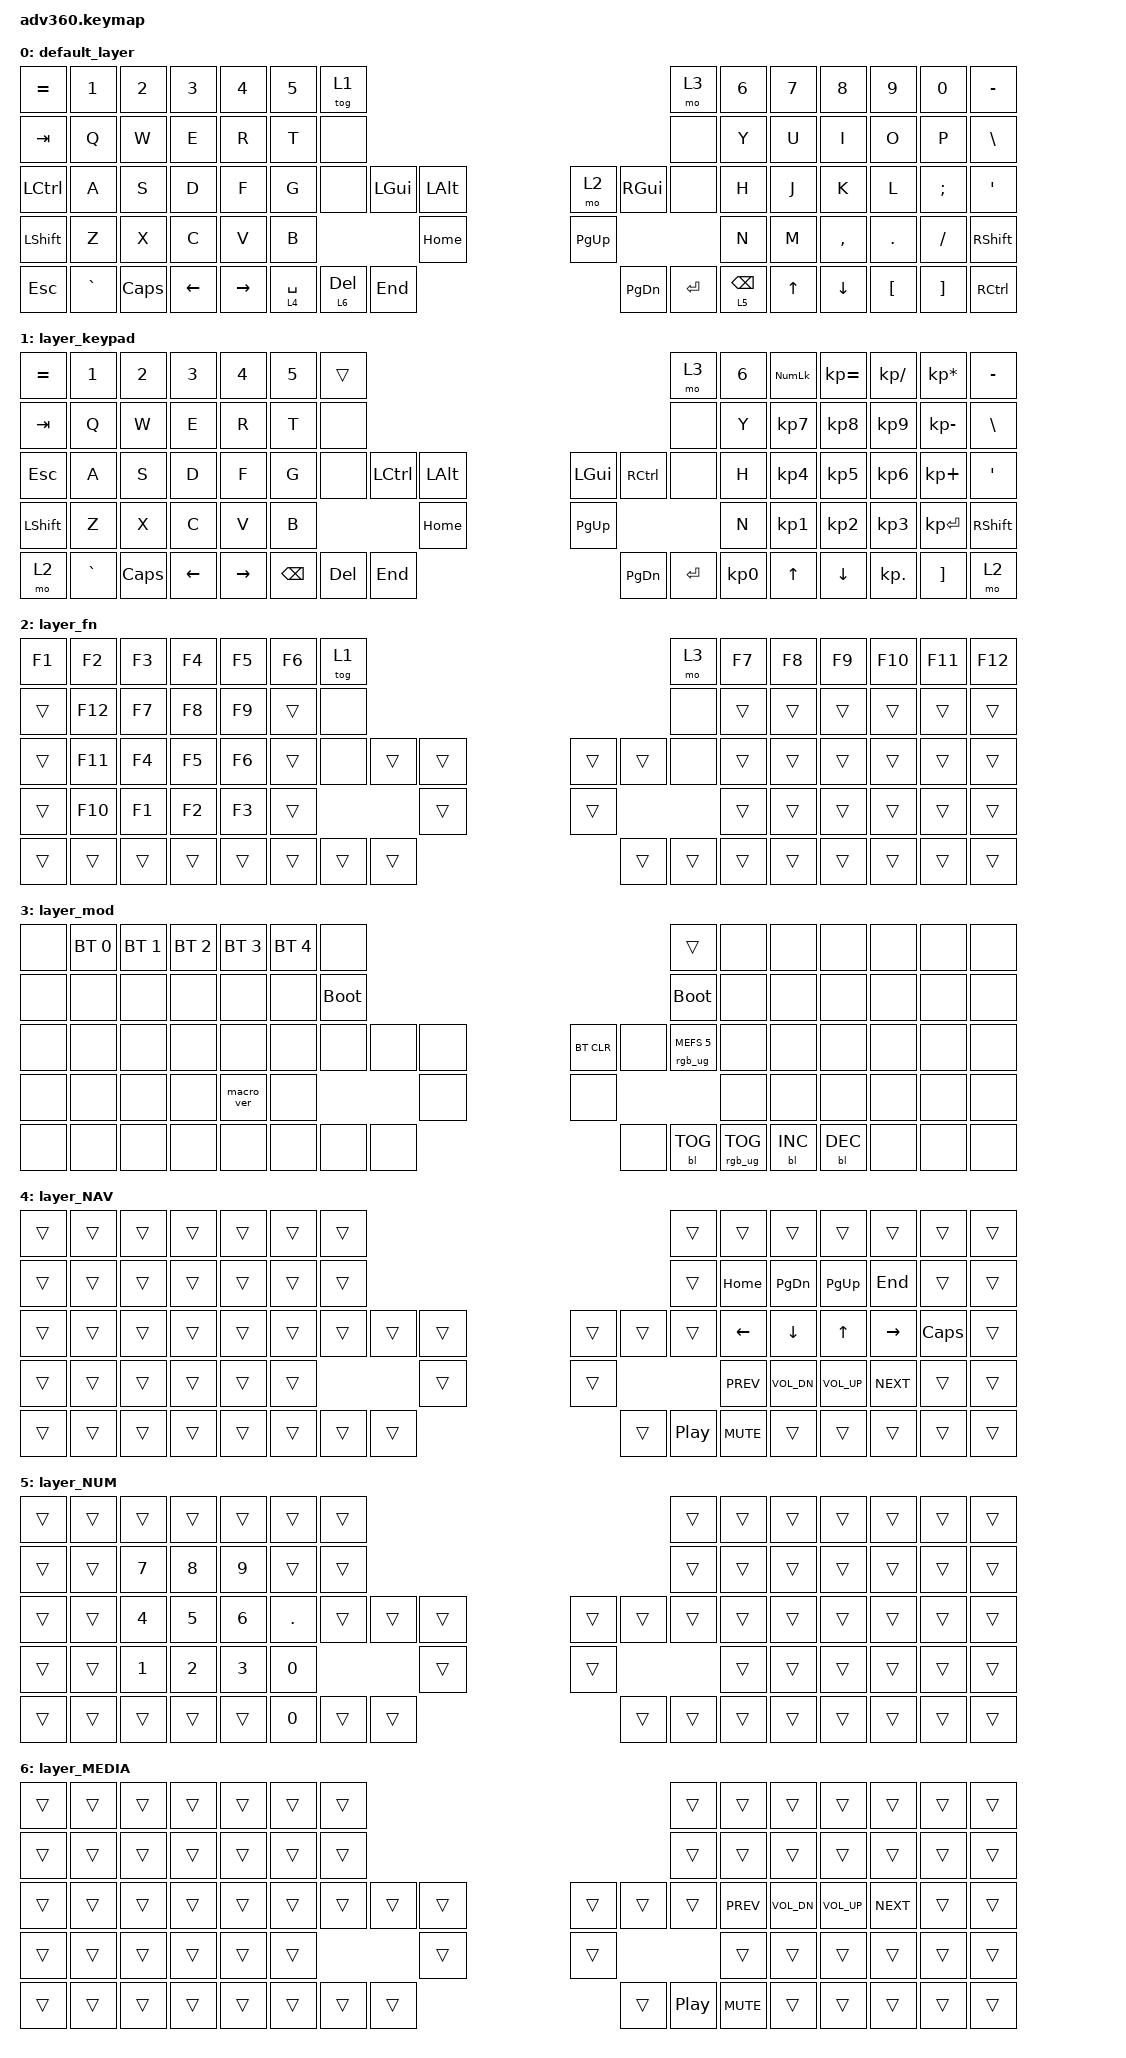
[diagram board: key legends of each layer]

/*
 * Copyright (c) 2020 The ZMK Contributors
 *
 * SPDX-License-Identifier: MIT
 */


/* THIS FILE WAS GENERATED!
 *
 * This file was generated automatically. You may or may not want to
 * edit it directly.
 */

#include <behaviors.dtsi>
#include <dt-bindings/zmk/keys.h>
#include <dt-bindings/zmk/bt.h>
#include <dt-bindings/zmk/rgb.h>
#include <dt-bindings/zmk/backlight.h>

/ {
  behaviors {
    #include "macros.dtsi"
    #include "version.dtsi"

    hm: homerow_mods {
        compatible = "zmk,behavior-hold-tap";
        label = "HOMEROW_MODS";
        #binding-cells = <2>;
        tapping-term-ms = <200>;
        quick_tap_ms = <175>;
        flavor = "tap-preferred";
        bindings = <&kp>, <&kp>;
    };
  };

    keymap {
        compatible = "zmk,keymap";


        default_layer {
            bindings = <
 &kp EQUAL     &kp N1    &kp N2    &kp N3     &kp N4  &kp N5                 &tog 1                                                                           &mo 3  &kp N6  &kp N7     &kp N8    &kp N9    &kp N0  &kp MINUS
   &kp TAB      &kp Q     &kp W     &kp E      &kp R   &kp T                  &none                                                                           &none   &kp Y   &kp U      &kp I     &kp O     &kp P   &kp BSLH
 &kp LCTRL      &kp A     &kp S     &kp D      &kp F   &kp G                  &none   &kp LGUI  &kp LALT                          &mo 2   &kp RGUI            &none   &kp H   &kp J      &kp K     &kp L  &kp SEMI    &kp SQT
 &kp LSHFT      &kp Z     &kp X     &kp C      &kp V   &kp B                                    &kp HOME                    &kp PAGE_UP                               &kp N   &kp M  &kp COMMA   &kp DOT  &kp FSLH  &kp RSHFT
   &kp ESC  &kp GRAVE  &kp CAPS  &kp LEFT  &kp RIGHT                    &lt 4 SPACE  &lt 6 DEL   &kp END                  &kp PAGE_DOWN  &kp ENTER  &lt 5 BACKSPACE          &kp UP   &kp DOWN  &kp LBKT  &kp RBKT  &kp RCTRL
            >;
        };

        layer_keypad {
            bindings = <
 &kp EQUAL     &kp N1    &kp N2    &kp N3     &kp N4  &kp N5              &trans                                                                 &mo 3  &kp N6  &kp KP_NUM  &kp KP_EQUAL  &kp KP_DIVIDE  &kp KP_MULTIPLY  &kp MINUS
   &kp TAB      &kp Q     &kp W     &kp E      &kp R   &kp T               &none                                                                 &none   &kp Y   &kp KP_N7     &kp KP_N8      &kp KP_N9     &kp KP_MINUS   &kp BSLH
   &kp ESC      &kp A     &kp S     &kp D      &kp F   &kp G               &none  &kp LCTRL  &kp LALT                   &kp LGUI  &kp RCTRL      &none   &kp H   &kp KP_N4     &kp KP_N5      &kp KP_N6      &kp KP_PLUS    &kp SQT
 &kp LSHFT      &kp Z     &kp X     &kp C      &kp V   &kp B                                 &kp HOME                  &kp PG_UP                         &kp N   &kp KP_N1     &kp KP_N2      &kp KP_N3     &kp KP_ENTER  &kp RSHFT
     &mo 2  &kp GRAVE  &kp CAPS  &kp LEFT  &kp RIGHT                    &kp BSPC    &kp DEL   &kp END                  &kp PG_DN  &kp ENTER  &kp KP_N0              &kp UP      &kp DOWN     &kp KP_DOT         &kp RBKT      &mo 2
            >;
        };

        layer_fn {
            bindings = <
 &kp F1   &kp F2  &kp F3  &kp F4  &kp F5  &kp F6            &tog 1                                                   &mo 3  &kp F7  &kp F8  &kp F9  &kp F10  &kp F11  &kp F12
 &trans  &kp F12  &kp F7  &kp F8  &kp F9  &trans             &none                                                   &none  &trans  &trans  &trans   &trans   &trans   &trans
 &trans  &kp F11  &kp F4  &kp F5  &kp F6  &trans             &none  &trans  &trans                  &trans  &trans   &none  &trans  &trans  &trans   &trans   &trans   &trans
 &trans  &kp F10  &kp F1  &kp F2  &kp F3  &trans                            &trans                  &trans                  &trans  &trans  &trans   &trans   &trans   &trans
 &trans   &trans  &trans  &trans  &trans                    &trans  &trans  &trans                  &trans  &trans  &trans          &trans  &trans   &trans   &trans   &trans
            >;
        };

        layer_mod {
            bindings = <
  &none  &bt BT_SEL 0  &bt BT_SEL 1  &bt BT_SEL 2  &bt BT_SEL 3  &bt BT_SEL 4                  &none                                                                          &trans   &none       &none       &none   &none   &none   &none
  &none         &none         &none         &none         &none         &none            &bootloader                                                                     &bootloader   &none       &none       &none   &none   &none   &none
  &none         &none         &none         &none         &none         &none                  &none   &none   &none                  &bt BT_CLR       &none  &rgb_ug RGB_MEFS_CMD 5   &none       &none       &none   &none   &none   &none
  &none         &none         &none         &none    &macro_ver         &none                                  &none                       &none                                       &none       &none       &none   &none   &none   &none
  &none         &none         &none         &none         &none                                &none   &none   &none                       &none  &bl BL_TOG         &rgb_ug RGB_TOG          &bl BL_INC  &bl BL_DEC   &none   &none   &none
            >;
        };

        layer_NAV {
            bindings = <
 &trans  &trans  &trans  &trans  &trans  &trans            &trans                                                        &trans      &trans        &trans        &trans      &trans    &trans  &trans
 &trans  &trans  &trans  &trans  &trans  &trans            &trans                                                        &trans    &kp HOME     &kp PG_DN     &kp PG_UP     &kp END    &trans  &trans
 &trans  &trans  &trans  &trans  &trans  &trans            &trans  &trans  &trans                  &trans    &trans      &trans    &kp LEFT      &kp DOWN        &kp UP   &kp RIGHT  &kp CAPS  &trans
 &trans  &trans  &trans  &trans  &trans  &trans                            &trans                  &trans                        &kp C_PREV  &kp C_VOL_DN  &kp C_VOL_UP  &kp C_NEXT    &trans  &trans
 &trans  &trans  &trans  &trans  &trans                    &trans  &trans  &trans                  &trans  &kp C_PP  &kp C_MUTE                    &trans        &trans      &trans    &trans  &trans
            >;
        };

        layer_NUM {
            bindings = <
 &trans  &trans  &trans  &trans  &trans   &trans            &trans                                                  &trans  &trans  &trans  &trans  &trans  &trans  &trans
 &trans  &trans  &kp N7  &kp N8  &kp N9   &trans            &trans                                                  &trans  &trans  &trans  &trans  &trans  &trans  &trans
 &trans  &trans  &kp N4  &kp N5  &kp N6  &kp DOT            &trans  &trans  &trans                  &trans  &trans  &trans  &trans  &trans  &trans  &trans  &trans  &trans
 &trans  &trans  &kp N1  &kp N2  &kp N3   &kp N0                            &trans                  &trans                  &trans  &trans  &trans  &trans  &trans  &trans
 &trans  &trans  &trans  &trans  &trans                     &kp N0  &trans  &trans                  &trans  &trans  &trans          &trans  &trans  &trans  &trans  &trans
            >;
        };

        layer_MEDIA {
            bindings = <
 &trans  &trans  &trans  &trans  &trans  &trans            &trans                                                        &trans      &trans        &trans        &trans      &trans  &trans  &trans
 &trans  &trans  &trans  &trans  &trans  &trans            &trans                                                        &trans      &trans        &trans        &trans      &trans  &trans  &trans
 &trans  &trans  &trans  &trans  &trans  &trans            &trans  &trans  &trans                  &trans    &trans      &trans  &kp C_PREV  &kp C_VOL_DN  &kp C_VOL_UP  &kp C_NEXT  &trans  &trans
 &trans  &trans  &trans  &trans  &trans  &trans                            &trans                  &trans                            &trans        &trans        &trans      &trans  &trans  &trans
 &trans  &trans  &trans  &trans  &trans                    &trans  &trans  &trans                  &trans  &kp C_PP  &kp C_MUTE                    &trans        &trans      &trans  &trans  &trans
            >;
        };

    };
};
